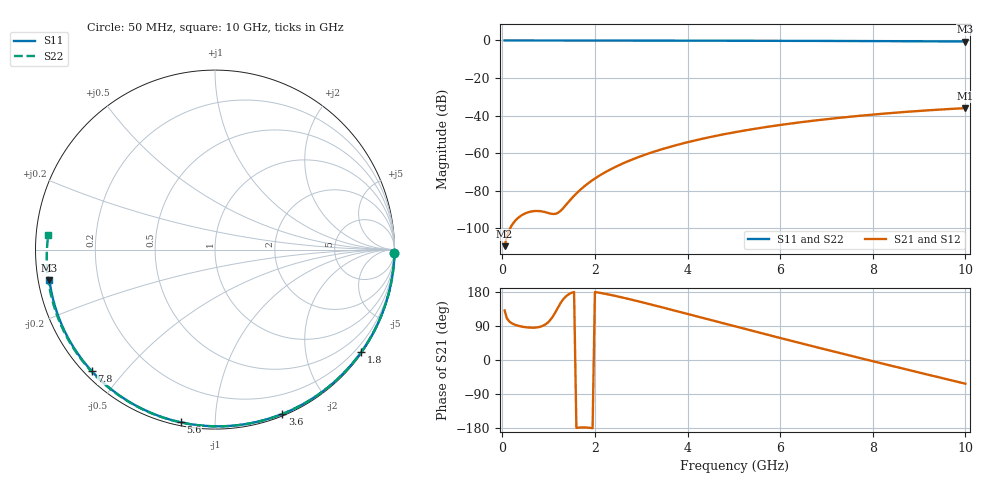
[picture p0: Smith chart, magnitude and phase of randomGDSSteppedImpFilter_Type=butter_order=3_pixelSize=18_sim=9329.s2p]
! freq	dB(S11)	phase(S11)	dB(S12)	phase(S12)
!  dB(S21)	phase(S21)	dB(S22)	phase(S22)
!S-par simulation data
#  GHz  S  DB  R 50
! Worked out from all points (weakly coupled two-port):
!   200 points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, 50 MHz to 10 GHz, reference 50 ohm
!   highest |S21| = -36.03 dB at 10 GHz (marker M1); lowest = -109.5 dB at 50 MHz (marker M2)
!   lowest |S11| = -0.6 dB at 10 GHz (marker M3), VSWR 31.24, Z = 1.61 - j4.56 ohm
!   |S11| at or under -10 dB: nowhere
!   |S22| runs from -0.6 to 0.0 dB; largest |S21 - S12| = 0
!   S11 on the Smith chart (normalised r, x): 50 MHz: open; 1.8 GHz: 0.03, -3.18; 3.6 GHz: 0.02, -1.49; 5.6 GHz: 0.02, -0.82; 7.8 GHz: 0.02, -0.41; 10 GHz: 0.03, -0.09
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0.05  -0.00 -1.0  -109.50 130.5  -109.50 130.5  -0.00 -1.0
0.4  -0.01 -7.9  -93.35 88.6  -93.35 88.6  -0.01 -8.2
0.8  -0.02 -15.7  -90.82 87.2  -90.82 87.2  -0.02 -16.4
1.2  -0.03 -23.4  -91.78 138.0  -91.78 138.0  -0.03 -24.5
1.65  -0.04 -32.0  -80.26 -178.4  -80.26 -178.4  -0.04 -33.4
1.75  -0.04 -33.9  -78.08 -178.0  -78.08 -178.0  -0.04 -35.4
1.8  -0.04 -34.9  -77.07 -178.2  -77.07 -178.2  -0.05 -36.4
2.1  -0.05 -40.5  -71.91 177.4  -71.91 177.4  -0.05 -42.3
2.45  -0.06 -47.0  -67.22 168.9  -67.22 168.9  -0.06 -49.1
2.9  -0.07 -55.3  -62.46 156.0  -62.46 156.0  -0.07 -57.7
3.4  -0.09 -64.2  -58.24 140.6  -58.24 140.6  -0.09 -67.1
3.6  -0.09 -67.7  -56.79 134.3  -56.79 134.3  -0.09 -70.8
4.3  -0.11 -79.8  -52.43 112.0  -52.43 112.0  -0.12 -83.6
5.05  -0.14 -92.3  -48.71 88.1  -48.71 88.1  -0.15 -96.8
5.6  -0.17 -101.2  -46.44 70.7  -46.44 70.7  -0.18 -106.4
6.15  -0.20 -110.0  -44.48 53.4  -44.48 53.4  -0.21 -115.8
6.7  -0.23 -118.6  -42.76 36.4  -42.76 36.4  -0.25 -125.2
7.25  -0.27 -127.0  -41.25 19.5  -41.25 19.5  -0.29 -134.6
7.8  -0.32 -135.5  -39.91 2.8  -39.91 2.8  -0.34 -144.1
8.35  -0.37 -143.9  -38.73 -13.7  -38.73 -13.7  -0.39 -153.8
9.2  -0.46 -156.9  -37.18 -39.0  -37.18 -39.0  -0.49 -169.3
10  -0.56 -169.6  -36.03 -62.5  -36.03 -62.5  -0.61 175.1
